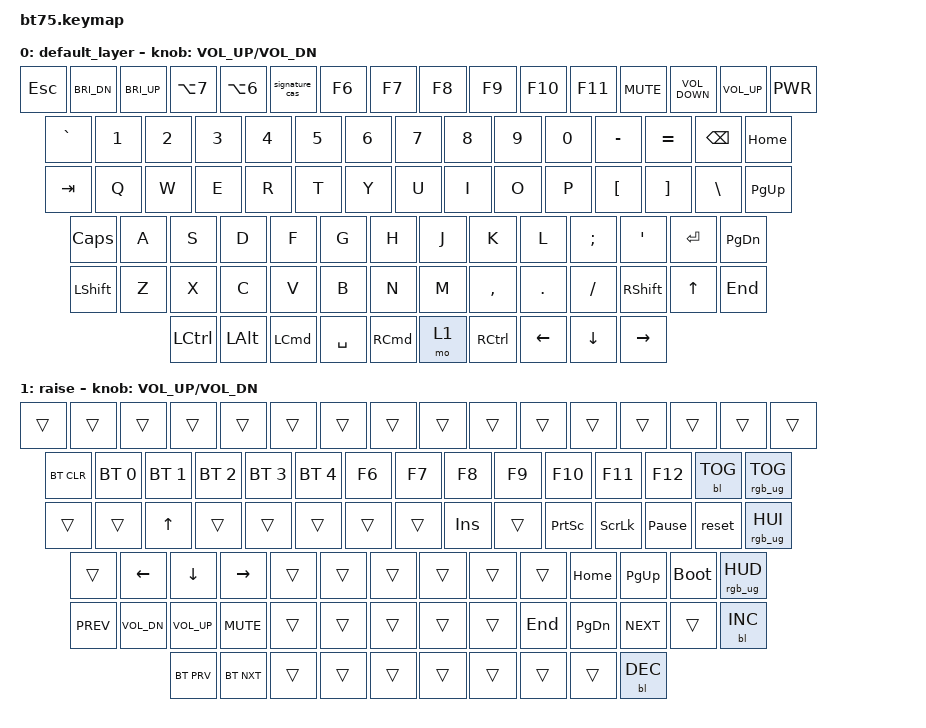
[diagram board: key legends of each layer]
#include <behaviors.dtsi>
#include <dt-bindings/zmk/keys.h>
#include <dt-bindings/zmk/bt.h>
#include <dt-bindings/zmk/backlight.h>
#include <dt-bindings/zmk/rgb.h>

/ {
    macros {
        signature_cas: signature_cas {
            compatible = "zmk,behavior-macro";
            label = "signature_cas";
            #binding-cells = <0>;
            bindings = <&kp S &kp I &kp G &kp N &kp A &kp T &kp U &kp R &kp E &kp LS(MINUS) &kp C &kp A &kp S &kp RET>;
            wait-ms = <40>;
            tap-ms = <1>;
        };
    };

    keymap {
        compatible = "zmk,keymap";

        default_layer {
            // ------------------------------------------------------------------------------------------------------------
            // | ESC | F1  | F2  | F3  | F4  | F5  | F6  | F7  | F9  | F9  | F10 | F11 | F12 | PSCRN | INS | DEL	|
            // |  `  |  1  |  2  |  3  |  4  |  5  |  6  |  7  |  8  |  9  |  0  |  -  |  =  |   BKSP   | HOME	|
            // | TAB  |  Q  |  W  |  E  |  R  |  T  |  Y  |  U  |  I  |  O  |  P  |  [  |  ]  |    \    | PG UP |
            // | CAPS  |  A  |  S  |  D  |  F  |  G  |  H  |  J  |  K  |  L  |  ;  |  '  |     ENTER     | PG DN |
            // |  SHIFT    |  Z  |  X  |  C  |  V  |  B  |  N  |  M  |  ,  |  .  | /   |    SHIFT |  UP  |  END  |
            // |  CTL  |  WIN  |  ALT  |            SPACE               | ALT | 1  | CTRL |  LEFT | DOWN | RIGHT |
            // ------------------------------------------------------------------------------------------------------------

            bindings = <
   &kp ESC  &kp C_BRI_DN  &kp C_BRI_UP  &kp LA(NUMBER_7)  &kp LA(NUMBER_6)  &signature_cas  &kp F6     &kp F7     &kp F8    &kp F9    &kp F10    &kp F11  &kp C_MUTE  &kp C_VOLUME_DOWN  &kp C_VOL_UP  &kp K_PWR
 &kp GRAVE        &kp N1        &kp N2            &kp N3            &kp N4          &kp N5  &kp N6     &kp N7     &kp N8    &kp N9     &kp N0  &kp MINUS   &kp EQUAL           &kp BKSP      &kp HOME
   &kp TAB         &kp Q         &kp W             &kp E             &kp R           &kp T   &kp Y      &kp U      &kp I     &kp O      &kp P   &kp LBKT    &kp RBKT           &kp BSLH     &kp PG_UP
  &kp CLCK         &kp A         &kp S             &kp D             &kp F           &kp G   &kp H      &kp J      &kp K     &kp L   &kp SEMI    &kp SQT     &kp RET          &kp PG_DN
 &kp LSHFT         &kp Z         &kp X             &kp C             &kp V           &kp B   &kp N      &kp M  &kp COMMA   &kp DOT   &kp FSLH  &kp RSHFT      &kp UP            &kp END
               &kp LCTRL      &kp LALT          &kp LCMD         &kp SPACE        &kp RCMD   &mo 1  &kp RCTRL   &kp LEFT  &kp DOWN  &kp RIGHT
            >;

            sensor-bindings = <&inc_dec_kp C_VOL_UP C_VOL_DN>;
        };

        raise {
            bindings = <
     &trans        &trans        &trans        &trans        &trans        &trans  &trans  &trans   &trans   &trans      &trans      &trans           &trans           &trans           &trans  &trans
 &bt BT_CLR  &bt BT_SEL 0  &bt BT_SEL 1  &bt BT_SEL 2  &bt BT_SEL 3  &bt BT_SEL 4  &kp F6  &kp F7   &kp F8   &kp F9     &kp F10     &kp F11          &kp F12       &bl BL_TOG  &rgb_ug RGB_TOG
     &trans        &trans        &kp UP        &trans        &trans        &trans  &trans  &trans  &kp INS   &trans   &kp PSCRN    &kp SLCK  &kp PAUSE_BREAK           &reset  &rgb_ug RGB_HUI
     &trans      &kp LEFT      &kp DOWN     &kp RIGHT        &trans        &trans  &trans  &trans   &trans   &trans    &kp HOME   &kp PG_UP      &bootloader  &rgb_ug RGB_HUD
 &kp C_PREV  &kp C_VOL_DN  &kp C_VOL_UP    &kp C_MUTE        &trans        &trans  &trans  &trans   &trans  &kp END   &kp PG_DN  &kp C_NEXT           &trans       &bl BL_INC
               &bt BT_PRV    &bt BT_NXT        &trans        &trans        &trans  &trans  &trans   &trans   &trans  &bl BL_DEC
            >;

            sensor-bindings = <&inc_dec_kp C_VOL_UP C_VOL_DN>;
        };
    };
};
